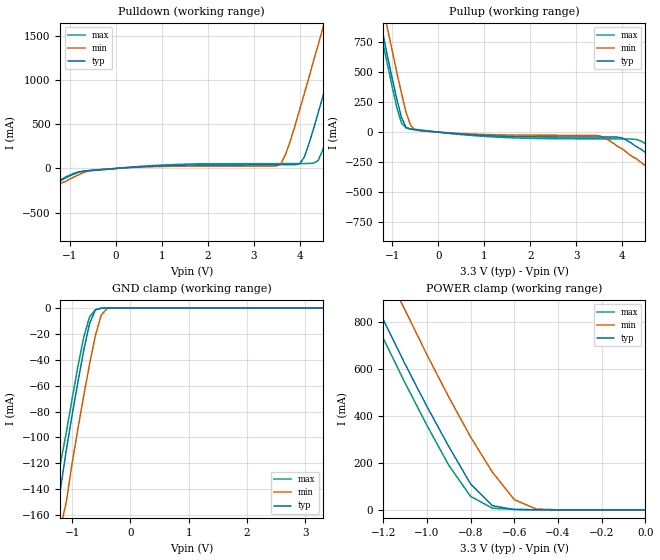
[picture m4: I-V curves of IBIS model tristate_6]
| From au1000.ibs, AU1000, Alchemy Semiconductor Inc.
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|   Model tristate_6
[Model]   tristate_6
Model_type   I/O
Polarity   Non-Inverting
Vinl = 0.660V
Vinh = 2.640V
Enable   Active-High
C_comp   1.25pF   1.20pF   1.30pF
[Temperature Range]   27.00   100.00   0.000
[Voltage Range]   3.30V   3.00V   3.60V
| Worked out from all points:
|   slope of the pulldown table from 0 to 0.495 V, typ, clamps not added: 26.5 ohm
|   slope of the pullup table from 0 to 0.495 V, typ, clamps not added: 30.7 ohm
|   GND clamp passes 1 mA (typ) near -0.58 V on its own axis
|   POWER clamp passes 1 mA (typ) near -0.58 V on its own axis
[Pulldown]
| voltage   I(typ)   I(min)   I(max)
-3.3V     -720mA     -760mA     -710mA
-600mV    -24.38mA   -27.97mA   -27.3mA
3.5V      41.66mA    29.94mA    55.3mA
3.7V      41.76mA    170mA      55.4mA
4V        51.84mA    670mA      55.63mA
4.1V      130mA      850mA      55.98mA
4.3V      450mA      1.22A      60.61mA
4.5V      810mA      1.59A      210mA
4.9V      1.56A      2.33A      920mA
5.2V      2.13A      2.89A      1.48A
5.3V      2.31A      3.07A      1.67A
6.6V      4.75A      5.48A      4.13A
[Pullup]
| voltage   I(typ)   I(min)   I(max)
-3.3V     4.75A      4.93A      4.69A
-1.3V     1A         1.22A      920mA
-1.2V     810mA      1.03A      730mA
-1.1V     620mA      850mA      550mA
-900mV    270mA      490mA      200mA
-800mV    120mA      320mA      74.12mA
-700mV    38.12mA    160mA      35.21mA
-500mV    19.19mA    17.26mA    22.91mA
3.4V      -40.59mA   -26.61mA   -55.76mA
4V        -49.55mA   -140mA     -56.37mA
4.5V      -170mA     -280mA     -95.03mA
6.6V      -760mA     -870mA     -680mA
[GND_clamp]
| voltage   I(typ)   I(min)   I(max)
-3.3V     -720mA     -760mA     -710mA
-1.4V     -190mA     -230mA     -180mA
-1.3V     -160mA     -200mA     -150mA
-1.2V     -140mA     -170mA     -120mA
-1.1V     -110mA     -150mA     -96.36mA
-1V       -82.72mA   -120mA     -70.17mA
-800mV    -32.65mA   -67.63mA   -22.37mA
-700mV    -11.86mA   -43.2mA    -6.68mA
-600mV    -1.23mA    -21.19mA   -1.3mA
-500mV    -49.23uA   -5.33mA    -130uA
-400mV    -2.14uA    -410uA     -6.5uA
3.3V      10pA       1.04nA     -10pA
[POWER_clamp]
| voltage   I(typ)   I(min)   I(max)
-3.3V     4.75A      4.92A      4.69A
-1.3V     1A         1.22A      920mA
-1.2V     810mA      1.03A      730mA
-1.1V     620mA      850mA      540mA
-1V       440mA      660mA      360mA
-900mV    270mA      480mA      190mA
-800mV    110mA      310mA      57.26mA
-700mV    17.65mA    160mA      6.88mA
-600mV    1.22mA     43.35mA    2.16mA
-500mV    120uA      3.64mA     500uA
-400mV    9.35uA     180uA      38.34uA
0V        50pA       1.95nA     80pA
[Ramp]
| variable   typ   min   max
dV/dt_r   1.62/0.21ns   1.08/0.27ns   1.67/0.14ns
dV/dt_f   1.67/0.23ns   1.22/0.34ns   1.76/0.15ns
R_load = 0.10k
| End [Model] tristate_6
